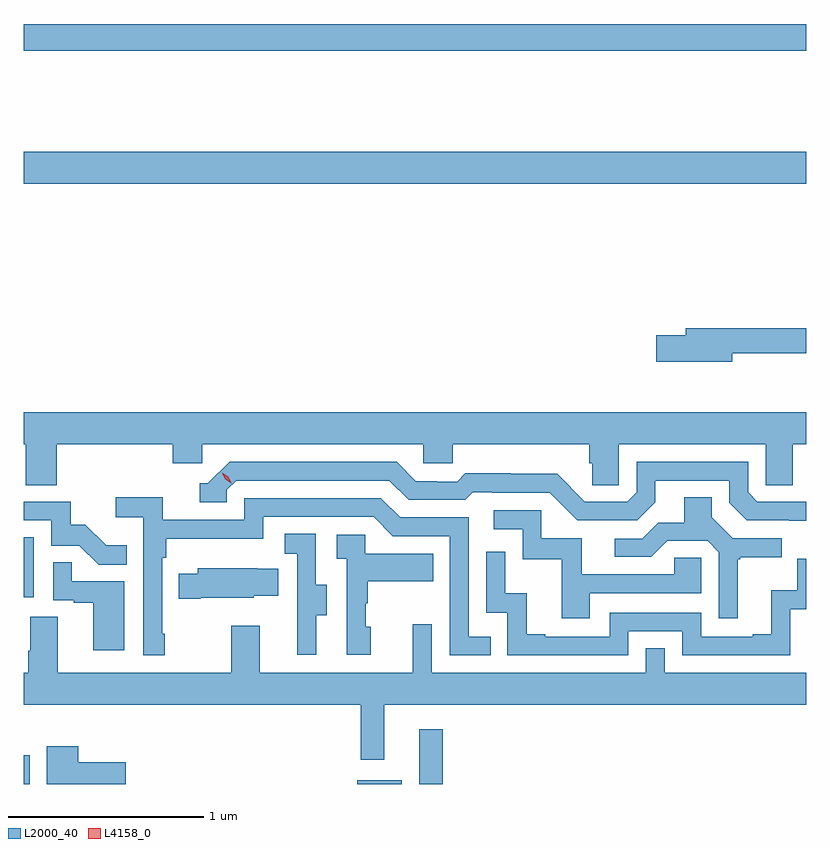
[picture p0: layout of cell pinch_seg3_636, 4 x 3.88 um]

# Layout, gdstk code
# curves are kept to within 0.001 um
import gdstk
lib = gdstk.Library(unit=1e-6, precision=1e-09)
def R(c, l, rs):  # rectangles x0, y0, x1, y1
    for r in rs: c.add(gdstk.rectangle(r[:2], r[2:], *l))
def P(c, l, *ps):  # polygons
    for p in ps: c.add(gdstk.Polygon(p, *l))
L2000_40 = (2000, 40)
L4158_0 = (4158, 0)

pinch_seg3_636 = lib.new_cell('pinch_seg3_636')
R(pinch_seg3_636, L2000_40, [(1041.666,683.196,1041.696,683.342), (1043.372,683.196,1043.599,683.215), (1043.687,683.196,1043.809,683.476), (1041.666,684.15,1041.718,684.457), (1041.666,686.264,1045.666,686.428), (1041.666,686.944,1045.666,687.08)])
P(pinch_seg3_636, L2000_40, [(1045.288,685.398),(1045.666,685.398),(1045.666,685.526),(1045.049,685.526),(1045.049,685.49),(1044.9,685.49),(1044.9,685.355),(1045.288,685.355)],
  [(1041.836,684.932),(1042.427,684.932),(1042.427,684.834),(1042.578,684.834),(1042.578,684.932),(1043.709,684.932),(1043.709,684.834),(1043.859,684.834),(1043.859,684.932),(1044.557,684.932),(1044.557,684.834),(1044.571,684.834),(1044.571,684.724),(1044.708,684.724),(1044.708,684.932),(1045.458,684.932),(1045.458,684.724),(1045.597,684.724),(1045.597,684.932),(1045.666,684.932),(1045.666,685.096),(1041.666,685.096),(1041.666,684.932),(1041.676,684.932),(1041.676,684.724),(1041.836,684.724)],
  [(1045.666,684.639),(1045.416,684.639),(1045.368,684.687),(1045.368,684.843),(1044.798,684.843),(1044.798,684.687),(1044.75,684.639),(1044.534,684.639),(1044.392,684.781),(1044.156,684.781),(1044.156,684.784),(1043.923,684.784),(1043.881,684.741),(1043.778,684.741),(1043.778,684.744),(1043.671,684.744),(1043.572,684.843),(1042.719,684.843),(1042.608,684.732),(1042.565,684.732),(1042.565,684.636),(1042.704,684.636),(1042.704,684.699),(1042.752,684.747),(1043.535,684.747),(1043.634,684.648),(1043.923,684.648),(1043.962,684.687),(1044.061,684.687),(1044.061,684.684),(1044.354,684.684),(1044.495,684.543),(1044.801,684.543),(1044.895,684.637),(1044.895,684.747),(1045.272,684.747),(1045.272,684.633),(1045.362,684.543),(1045.666,684.542)],
  [(1045.315,684.345),(1045.327,684.345),(1045.327,684.356),(1045.54,684.356),(1045.54,684.453),(1045.29,684.453),(1045.183,684.56),(1045.183,684.662),(1045.043,684.662),(1045.043,684.53),(1044.908,684.53),(1044.828,684.45),(1044.687,684.45),(1044.687,684.357),(1044.874,684.357),(1044.955,684.438),(1045.161,684.438),(1045.218,684.381),(1045.218,684.042),(1045.315,684.042)],
  [(1042.387,683.965),(1042.374,683.965),(1042.374,684.353),(1042.394,684.353),(1042.394,684.449),(1042.89,684.449),(1042.89,684.561),(1043.454,684.561),(1043.553,684.462),(1043.844,684.462),(1043.844,683.853),(1044.053,683.853),(1044.053,683.949),(1043.94,683.949),(1043.94,684.558),(1043.59,684.558),(1043.491,684.657),(1042.794,684.657),(1042.794,684.546),(1042.376,684.546),(1042.376,684.662),(1042.137,684.662),(1042.137,684.56),(1042.278,684.56),(1042.278,683.853),(1042.387,683.853)],
  [(1042.193,684.415),(1042.089,684.415),(1041.982,684.522),(1041.906,684.522),(1041.906,684.639),(1041.666,684.639),(1041.666,684.543),(1041.807,684.543),(1041.807,684.414),(1041.951,684.414),(1042.049,684.316),(1042.193,684.316)],
  [(1044.559,684.171),(1045.128,684.171),(1045.128,684.351),(1044.991,684.351),(1044.991,684.267),(1044.517,684.267),(1044.517,684.453),(1044.312,684.453),(1044.312,684.594),(1044.069,684.594),(1044.069,684.498),(1044.216,684.498),(1044.216,684.345),(1044.415,684.345),(1044.415,684.042),(1044.559,684.042)],
  [(1043.161,684.058),(1043.215,684.058),(1043.215,684.213),(1043.16,684.213),(1043.16,684.476),(1043.001,684.476),(1043.001,684.373),(1043.064,684.373),(1043.064,684.069),(1043.063,684.069),(1043.063,683.856),(1043.161,683.856)],
  [(1043.44,684),(1043.415,684),(1043.415,684.119),(1043.425,684.119),(1043.425,684.233),(1043.759,684.233),(1043.759,684.373),(1043.412,684.373),(1043.412,684.471),(1043.265,684.471),(1043.265,684.347),(1043.316,684.347),(1043.316,683.856),(1043.44,683.856)],
  [(1044.756,683.976),(1045.032,683.976),(1045.032,683.853),(1045.584,683.853),(1045.584,684.089),(1045.666,684.089),(1045.666,684.348),(1045.62,684.348),(1045.62,684.187),(1045.487,684.187),(1045.487,683.962),(1045.391,683.962),(1045.391,683.949),(1045.128,683.949),(1045.128,684.072),(1044.66,684.072),(1044.66,683.949),(1044.331,683.949),(1044.331,683.962),(1044.236,683.962),(1044.236,684.17),(1044.126,684.17),(1044.126,684.382),(1044.03,684.382),(1044.03,684.072),(1044.138,684.072),(1044.138,683.853),(1044.756,683.853)],
  [(1042.18,684.231),(1041.911,684.231),(1041.911,684.329),(1041.816,684.329),(1041.816,684.135),(1041.923,684.135),(1041.923,684.123),(1042.022,684.123),(1042.022,683.88),(1042.18,683.88)],
  [(1042.57,684.149),(1042.842,684.149),(1042.842,684.158),(1042.967,684.158),(1042.967,684.295),(1042.859,684.295),(1042.859,684.298),(1042.557,684.298),(1042.557,684.271),(1042.459,684.271),(1042.459,684.142),(1042.57,684.142)],
  [(1043.509,683.6),(1045.666,683.6),(1045.666,683.764),(1044.942,683.764),(1044.942,683.891),(1044.846,683.891),(1044.846,683.764),(1043.751,683.764),(1043.751,684.013),(1043.654,684.013),(1043.654,683.764),(1042.873,683.764),(1042.873,684.004),(1042.726,684.004),(1042.726,683.764),(1041.841,683.764),(1041.841,684.05),(1041.701,684.05),(1041.701,683.876),(1041.689,683.876),(1041.689,683.764),(1041.666,683.764),(1041.666,683.6),(1043.388,683.6),(1043.388,683.319),(1043.509,683.319)],
  [(1042.189,683.307),(1041.946,683.307),(1041.946,683.389),(1041.785,683.389),(1041.785,683.196),(1042.189,683.196)])
P(pinch_seg3_636, L4158_0, [(1042.728,684.733),(1042.697,684.753),(1042.681,684.785),(1042.681,684.786),(1042.682,684.786),(1042.712,684.766),(1042.728,684.734),(1042.728,684.733)])

lib.write_gds('pinch_seg3_636.gds')
